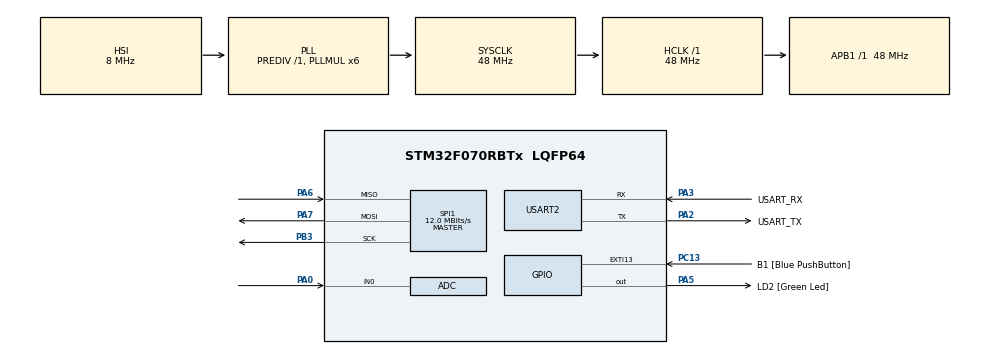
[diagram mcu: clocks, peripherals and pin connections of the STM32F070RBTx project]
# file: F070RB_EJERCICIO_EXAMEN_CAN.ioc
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FREERTOS.Tasks01=defaultTask,24,128,StartDefaultTask,Default,NULL,Dynamic,NULL,NULL;Tarea_MC3,8,128,Lectura_Sensores,Default,NULL,Dynamic,NULL,NULL;Tarea_MC2,8,128,Comunicacion_uart,Default,NULL,Dynamic,NULL,NULL;CAN,8,128,Lectura_can,Default,NULL,Dynamic,NULL,NULL;SPI,8,128,Rx_spi,Default,NULL,Dynamic,NULL,NULL
FREERTOS.configUSE_NEWLIB_REENTRANT=1
Mcu.Family=STM32F0
Mcu.Name=STM32F070RBTx
Mcu.Package=LQFP64
NVIC.TIM1_BRK_UP_TRG_COM_IRQn=true\:3\:0\:false\:false\:true\:false\:false\:true\:true
NVIC.TimeBase=TIM1_BRK_UP_TRG_COM_IRQn
NVIC.TimeBaseIP=TIM1
PA0.Mode=IN0
PA0.Signal=ADC_IN0
PA13.GPIO_Label=TMS
PA13.Mode=Serial_Wire
PA13.Signal=SYS_SWDIO
PA14.GPIO_Label=TCK
PA14.Mode=Serial_Wire
PA14.Signal=SYS_SWCLK
PA2.GPIO_Label=USART_TX
PA2.Mode=Asynchronous
PA2.Signal=USART2_TX
PA3.GPIO_Label=USART_RX
PA3.Mode=Asynchronous
PA3.Signal=USART2_RX
PA5.GPIO_Label=LD2 [Green Led]
PA5.Signal=GPIO_Output
PA6.Mode=Full_Duplex_Master
PA6.Signal=SPI1_MISO
PA7.Mode=Full_Duplex_Master
PA7.Signal=SPI1_MOSI
PB3.Mode=Full_Duplex_Master
PB3.Signal=SPI1_SCK
PC13.GPIO_Label=B1 [Blue PushButton]
PC13.GPIO_ModeDefaultEXTI=GPIO_MODE_IT_FALLING
PC13.Signal=GPXTI13
PC14-OSC32_IN.GPIO_Label=RCC_OSC32_IN
PC14-OSC32_IN.Mode=LSE-External-Oscillator
PC14-OSC32_IN.Signal=RCC_OSC32_IN
PC15-OSC32_OUT.GPIO_Label=RCC_OSC32_OUT
PC15-OSC32_OUT.Mode=LSE-External-Oscillator
PC15-OSC32_OUT.Signal=RCC_OSC32_OUT
PF0-OSC_IN.GPIO_Label=RCC_OSC_IN
PF0-OSC_IN.Mode=HSE-External-Clock-Source
PF0-OSC_IN.Signal=RCC_OSC_IN
PF1-OSC_OUT.GPIO_Label=RCC_OSC_OUT
PF1-OSC_OUT.Signal=RCC_OSC_OUT
ProjectManager.HeapSize=0x200
ProjectManager.StackSize=0x400
ProjectManager.TargetToolchain=STM32CubeIDE
RCC.AHBFreq_Value=48000000
RCC.APB1Freq_Value=48000000
RCC.APB1TimFreq_Value=48000000
RCC.HCLKFreq_Value=48000000
RCC.PLLMUL=RCC_PLL_MUL6
RCC.SYSCLKFreq_VALUE=48000000
RCC.SYSCLKSource=RCC_SYSCLKSOURCE_PLLCLK
SPI1.BaudRatePrescaler=SPI_BAUDRATEPRESCALER_4
SPI1.CalculateBaudRate=12.0 MBits/s
SPI1.Direction=SPI_DIRECTION_2LINES
SPI1.Mode=SPI_MODE_MASTER
SPI1.VirtualType=VM_MASTER
USART2.VirtualMode-Asynchronous=VM_ASYNC
VP_FREERTOS_VS_CMSIS_V2.Mode=CMSIS_V2
VP_SYS_VS_tim1.Mode=TIM1
board=NUCLEO-F070RB

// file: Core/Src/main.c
/* USER CODE BEGIN Header */
/**
  ******************************************************************************
  * @file           : main.c
  * @brief          : Main program body
  ******************************************************************************
  * @attention
  *
  * Copyright (c) 2022 STMicroelectronics.
  * All rights reserved.
  *
  * This software is licensed under terms that can be found in the LICENSE file
  * in the root directory of this software component.
  * If no LICENSE file comes with this software, it is provided AS-IS.
  *
  ******************************************************************************
  */
/* USER CODE END Header */
#include "main.h"
#include "cmsis_os.h"

ADC_HandleTypeDef hadc;

SPI_HandleTypeDef hspi1;

UART_HandleTypeDef huart2;

/* Definitions for defaultTask */
osThreadId_t defaultTaskHandle;
const osThreadAttr_t defaultTask_attributes = {
  .name = "defaultTask",
  .stack_size = 128 * 4,
  .priority = (osPriority_t) osPriorityNormal,
};
/* Definitions for Tarea_MC3 */
osThreadId_t Tarea_MC3Handle;
const osThreadAttr_t Tarea_MC3_attributes = {
  .name = "Tarea_MC3",
  .stack_size = 128 * 4,
  .priority = (osPriority_t) osPriorityLow,
};
/* Definitions for Tarea_MC2 */
osThreadId_t Tarea_MC2Handle;
const osThreadAttr_t Tarea_MC2_attributes = {
  .name = "Tarea_MC2",
  .stack_size = 128 * 4,
  .priority = (osPriority_t) osPriorityLow,
};
/* Definitions for CAN */
osThreadId_t CANHandle;
const osThreadAttr_t CAN_attributes = {
  .name = "CAN",
  .stack_size = 128 * 4,
  .priority = (osPriority_t) osPriorityLow,
};
/* Definitions for SPI */
osThreadId_t SPIHandle;
const osThreadAttr_t SPI_attributes = {
  .name = "SPI",
  .stack_size = 128 * 4,
  .priority = (osPriority_t) osPriorityLow,
};

void SystemClock_Config(void);
static void MX_GPIO_Init(void);
static void MX_USART2_UART_Init(void);
static void MX_ADC_Init(void);
static void MX_SPI1_Init(void);
void StartDefaultTask(void *argument);
void Lectura_Sensores(void *argument);
void Comunicacion_uart(void *argument);
void Lectura_can(void *argument);
void Rx_spi(void *argument);

int main(void)
{

  /* MCU Configuration--------------------------------------------------------*/

  /* Reset of all peripherals, Initializes the Flash interface and the Systick. */
  HAL_Init();

  /* Configure the system clock */
  SystemClock_Config();

  /* Initialize all configured peripherals */
  MX_GPIO_Init();
  MX_USART2_UART_Init();
  MX_ADC_Init();
  MX_SPI1_Init();

  /* Init scheduler */
  osKernelInitialize();

  /* Create the thread(s) */
  /* creation of defaultTask */
  defaultTaskHandle = osThreadNew(StartDefaultTask, NULL, &defaultTask_attributes);

  /* creation of Tarea_MC3 */
  Tarea_MC3Handle = osThreadNew(Lectura_Sensores, NULL, &Tarea_MC3_attributes);

  /* creation of Tarea_MC2 */
  Tarea_MC2Handle = osThreadNew(Comunicacion_uart, NULL, &Tarea_MC2_attributes);

  /* creation of CAN */
  CANHandle = osThreadNew(Lectura_can, NULL, &CAN_attributes);

  /* creation of SPI */
  SPIHandle = osThreadNew(Rx_spi, NULL, &SPI_attributes);

  /* Start scheduler */
  osKernelStart();

  /* We should never get here as control is now taken by the scheduler */
  /* Infinite loop */
  while (1)
  {

  }
}

void SystemClock_Config(void)
{
  RCC_OscInitTypeDef RCC_OscInitStruct = {0};
  RCC_ClkInitTypeDef RCC_ClkInitStruct = {0};

  /** Initializes the RCC Oscillators according to the specified parameters
  * in the RCC_OscInitTypeDef structure.
  */
  RCC_OscInitStruct.OscillatorType = RCC_OSCILLATORTYPE_HSI|RCC_OSCILLATORTYPE_HSI14;
  RCC_OscInitStruct.HSIState = RCC_HSI_ON;
  RCC_OscInitStruct.HSI14State = RCC_HSI14_ON;
  RCC_OscInitStruct.HSICalibrationValue = RCC_HSICALIBRATION_DEFAULT;
  RCC_OscInitStruct.HSI14CalibrationValue = 16;
  RCC_OscInitStruct.PLL.PLLState = RCC_PLL_ON;
  RCC_OscInitStruct.PLL.PLLSource = RCC_PLLSOURCE_HSI;
  RCC_OscInitStruct.PLL.PLLMUL = RCC_PLL_MUL6;
  RCC_OscInitStruct.PLL.PREDIV = RCC_PREDIV_DIV1;
  if (HAL_RCC_OscConfig(&RCC_OscInitStruct) != HAL_OK)
  {
    Error_Handler();
  }

  /** Initializes the CPU, AHB and APB buses clocks
  */
  RCC_ClkInitStruct.ClockType = RCC_CLOCKTYPE_HCLK|RCC_CLOCKTYPE_SYSCLK
                              |RCC_CLOCKTYPE_PCLK1;
  RCC_ClkInitStruct.SYSCLKSource = RCC_SYSCLKSOURCE_PLLCLK;
  RCC_ClkInitStruct.AHBCLKDivider = RCC_SYSCLK_DIV1;
  RCC_ClkInitStruct.APB1CLKDivider = RCC_HCLK_DIV1;

  if (HAL_RCC_ClockConfig(&RCC_ClkInitStruct, FLASH_LATENCY_1) != HAL_OK)
  {
    Error_Handler();
  }
}

static void MX_ADC_Init(void)
{

  ADC_ChannelConfTypeDef sConfig = {0};

  /** Configure the global features of the ADC (Clock, Resolution, Data Alignment and number of conversion)
  */
  hadc.Instance = ADC1;
  hadc.Init.ClockPrescaler = ADC_CLOCK_ASYNC_DIV1;
  hadc.Init.Resolution = ADC_RESOLUTION_12B;
  hadc.Init.DataAlign = ADC_DATAALIGN_RIGHT;
  hadc.Init.ScanConvMode = ADC_SCAN_DIRECTION_FORWARD;
  hadc.Init.EOCSelection = ADC_EOC_SINGLE_CONV;
  hadc.Init.LowPowerAutoWait = DISABLE;
  hadc.Init.LowPowerAutoPowerOff = DISABLE;
  hadc.Init.ContinuousConvMode = DISABLE;
  hadc.Init.DiscontinuousConvMode = DISABLE;
  hadc.Init.ExternalTrigConv = ADC_SOFTWARE_START;
  hadc.Init.ExternalTrigConvEdge = ADC_EXTERNALTRIGCONVEDGE_NONE;
  hadc.Init.DMAContinuousRequests = DISABLE;
  hadc.Init.Overrun = ADC_OVR_DATA_PRESERVED;
  if (HAL_ADC_Init(&hadc) != HAL_OK)
  {
    Error_Handler();
  }

  /** Configure for the selected ADC regular channel to be converted.
  */
  sConfig.Channel = ADC_CHANNEL_0;
  sConfig.Rank = ADC_RANK_CHANNEL_NUMBER;
  sConfig.SamplingTime = ADC_SAMPLETIME_1CYCLE_5;
  if (HAL_ADC_ConfigChannel(&hadc, &sConfig) != HAL_OK)
  {
    Error_Handler();
  }

}

static void MX_SPI1_Init(void)
{

  /* SPI1 parameter configuration*/
  hspi1.Instance = SPI1;
  hspi1.Init.Mode = SPI_MODE_MASTER;
  hspi1.Init.Direction = SPI_DIRECTION_2LINES;
  hspi1.Init.DataSize = SPI_DATASIZE_4BIT;
  hspi1.Init.CLKPolarity = SPI_POLARITY_LOW;
  hspi1.Init.CLKPhase = SPI_PHASE_1EDGE;
  hspi1.Init.NSS = SPI_NSS_SOFT;
  hspi1.Init.BaudRatePrescaler = SPI_BAUDRATEPRESCALER_4;
  hspi1.Init.FirstBit = SPI_FIRSTBIT_MSB;
  hspi1.Init.TIMode = SPI_TIMODE_DISABLE;
  hspi1.Init.CRCCalculation = SPI_CRCCALCULATION_DISABLE;
  hspi1.Init.CRCPolynomial = 7;
  hspi1.Init.CRCLength = SPI_CRC_LENGTH_DATASIZE;
  hspi1.Init.NSSPMode = SPI_NSS_PULSE_ENABLE;
  if (HAL_SPI_Init(&hspi1) != HAL_OK)
  {
    Error_Handler();
  }

}

static void MX_USART2_UART_Init(void)
{

  huart2.Instance = USART2;
  huart2.Init.BaudRate = 38400;
  huart2.Init.WordLength = UART_WORDLENGTH_8B;
  huart2.Init.StopBits = UART_STOPBITS_1;
  huart2.Init.Parity = UART_PARITY_NONE;
  huart2.Init.Mode = UART_MODE_TX_RX;
  huart2.Init.HwFlowCtl = UART_HWCONTROL_NONE;
  huart2.Init.OverSampling = UART_OVERSAMPLING_16;
  huart2.Init.OneBitSampling = UART_ONE_BIT_SAMPLE_DISABLE;
  huart2.AdvancedInit.AdvFeatureInit = UART_ADVFEATURE_NO_INIT;
  if (HAL_UART_Init(&huart2) != HAL_OK)
  {
    Error_Handler();
  }

}

static void MX_GPIO_Init(void)
{
  GPIO_InitTypeDef GPIO_InitStruct = {0};

  /* GPIO Ports Clock Enable */
  __HAL_RCC_GPIOC_CLK_ENABLE();
  __HAL_RCC_GPIOF_CLK_ENABLE();
  __HAL_RCC_GPIOA_CLK_ENABLE();
  __HAL_RCC_GPIOB_CLK_ENABLE();

  /*Configure GPIO pin Output Level */
  HAL_GPIO_WritePin(GPIOA, GPIO_PIN_5, GPIO_PIN_RESET);

  /*Configure GPIO pin : PC13 */
  GPIO_InitStruct.Pin = GPIO_PIN_13;
  GPIO_InitStruct.Mode = GPIO_MODE_IT_FALLING;
  GPIO_InitStruct.Pull = GPIO_NOPULL;
  HAL_GPIO_Init(GPIOC, &GPIO_InitStruct);

  /*Configure GPIO pin : PA5 */
  GPIO_InitStruct.Pin = GPIO_PIN_5;
  GPIO_InitStruct.Mode = GPIO_MODE_OUTPUT_PP;
  GPIO_InitStruct.Pull = GPIO_NOPULL;
  GPIO_InitStruct.Speed = GPIO_SPEED_FREQ_LOW;
  HAL_GPIO_Init(GPIOA, &GPIO_InitStruct);

}

/* USER CODE BEGIN 4 */

void HAL_ADC_ConvCpltCallback(ADC_HandleTypeDef *hadc)
{
	osSemaphoreRelease(semaphore_id);
	temperatura = HAL_ADC_GetValue(hadc);

}

void HAL_SPI_RxCpltCallback(SPI_HandleTypeDef *hspi)
{
	osSemaphoreRelease(semaphore_id);
//	HAL_SPI_Receive_IT(&hspi1, pData, Size);
}
void HAL_GPIO_EXTI_Callback(uint16_t GPIO_Pin)
{
	if(GPIO_Pin == Ican_Pin) osSemaphoreRelease(semaphore_id);
}

/* USER CODE END 4 */

void StartDefaultTask(void *argument)
{
  for(;;)
  {
    osDelay(1);
  }
}

void Lectura_Sensores(void *argument)
{
  /* USER CODE BEGIN Lectura_Sensores */
	HAL_ADCEx_Calibration_Start(&hadc);
  /* Infinite loop */
  for(;;)
  {
	  osSemaphoreAcquire(semaphore_id, timeout);
	  HAL_ADC_Start_IT(&hadc);

	  osDelay(1);
  }
  /* USER CODE END Lectura_Sensores */
}

void Comunicacion_uart(void *argument)
{
  /* USER CODE BEGIN Comunicacion_uart */
  /* Infinite loop */
  for(;;)
  {
	  switch(bufuart[0])
		{
		  case 1:
			  break;
		  case 2:
			  break;
		  case 3:
			  break;
		  case 4:
			  break;
		  default:
			  break;
		}
    osDelay(1);
  }
  /* USER CODE END Comunicacion_uart */
}

void Lectura_can(void *argument)
{
  /* USER CODE BEGIN Lectura_can */
  /* Infinite loop */
  for(;;)
  {
	  canspi();
    osDelay(1);
  }
  /* USER CODE END Lectura_can */
}

void Rx_spi(void *argument)
{
  /* USER CODE BEGIN Rx_spi */
	HAL_SPI_Receive_IT(&hspi1, pData, Size);
  /* Infinite loop */
  for(;;)
  {
	  osSemaphoreAcquire(semaphore_id, timeout);

	  do work;

    osDelay(1);
  }
  /* USER CODE END Rx_spi */
}

void HAL_TIM_PeriodElapsedCallback(TIM_HandleTypeDef *htim)
{
  if (htim->Instance == TIM1) {
    HAL_IncTick();
  }
}

void Error_Handler(void)
{
  __disable_irq();
  while (1)
  {
  }
}
